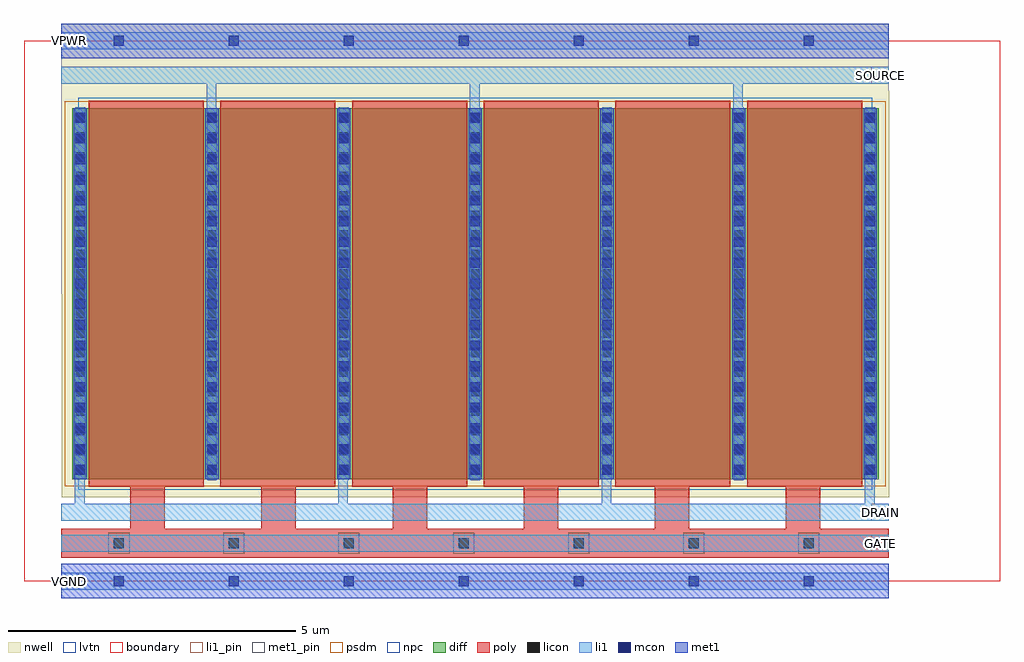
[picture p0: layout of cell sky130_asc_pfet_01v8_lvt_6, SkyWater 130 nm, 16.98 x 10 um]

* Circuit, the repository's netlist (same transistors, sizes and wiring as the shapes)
* NGSPICE file created from sky130_asc_pfet_01v8_lvt_6.ext - technology: sky130A

.subckt sky130_asc_pfet_01v8_lvt_6 GATE SOURCE DRAIN VGND VPWR
X0 SOURCE GATE DRAIN VPWR sky130_fd_pr__pfet_01v8_lvt ad=5.6115e+12p pd=4.044e+07u as=7.482e+12p ps=5.392e+07u w=6.45e+06u l=2e+06u
X1 SOURCE GATE DRAIN VPWR sky130_fd_pr__pfet_01v8_lvt ad=0p pd=0u as=0p ps=0u w=6.45e+06u l=2e+06u
X2 DRAIN GATE SOURCE VPWR sky130_fd_pr__pfet_01v8_lvt ad=0p pd=0u as=0p ps=0u w=6.45e+06u l=2e+06u
X3 SOURCE GATE DRAIN VPWR sky130_fd_pr__pfet_01v8_lvt ad=0p pd=0u as=0p ps=0u w=6.45e+06u l=2e+06u
X4 DRAIN GATE SOURCE VPWR sky130_fd_pr__pfet_01v8_lvt ad=0p pd=0u as=0p ps=0u w=6.45e+06u l=2e+06u
X5 DRAIN GATE SOURCE VPWR sky130_fd_pr__pfet_01v8_lvt ad=0p pd=0u as=0p ps=0u w=6.45e+06u l=2e+06u
.ends

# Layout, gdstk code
import gdstk
lib = gdstk.Library(unit=1e-6, precision=1e-09)
def R(c, l, rs):  # rectangles x0, y0, x1, y1
    for r in rs: c.add(gdstk.rectangle(r[:2], r[2:], *l))
def A(c, l, x, y, w, h, nx, ny, dx, dy):  # array of equal rectangles
    R(c, l, [(x+i*dx, y+j*dy, x+i*dx+w, y+j*dy+h) for i in range(nx) for j in range(ny)])
nwell = (64, 20)
diff = (65, 20)
poly = (66, 20)
licon = (66, 44)
li1_pin = (67, 16)
li1 = (67, 20)
mcon = (67, 44)
met1_pin = (68, 16)
met1 = (68, 20)
psdm = (94, 20)
npc = (95, 20)
lvtn = (125, 44)
boundary = (235, 4)

sky130_asc_pfet_01v8_lvt = lib.new_cell('sky130_asc_pfet_01v8_lvt_6')
R(sky130_asc_pfet_01v8_lvt, nwell, [(0.655,1.465,15.045,5), (0.65,5,15.045,8.535), (0.65,8.535,15.04,9.7)])
R(sky130_asc_pfet_01v8_lvt, diff, [(0.835,1.775,14.865,8.225)])
A(sky130_asc_pfet_01v8_lvt, poly, 1.85, 0.91, 0.6, 0.735, 6, 1, 2.28, 0)
A(sky130_asc_pfet_01v8_lvt, poly, 1.125, 1.645, 2, 6.71, 6, 1, 2.29, 0)
R(sky130_asc_pfet_01v8_lvt, poly, [(0.65,0.41,15.04,0.91)])
A(sky130_asc_pfet_01v8_lvt, licon, 1.565, 0.575, 0.17, 0.17, 7, 1, 2, 0)
A(sky130_asc_pfet_01v8_lvt, licon, 0.895, 1.855, 0.17, 0.17, 7, 19, 2.29, 0.34)
R(sky130_asc_pfet_01v8_lvt, li1_pin, [(14.74,0.51,15.04,0.81), (14.74,1.05,15.04,1.35), (14.74,8.65,15.04,8.95)])
A(sky130_asc_pfet_01v8_lvt, li1, 0.885, 1.35, 0.17, 0.405, 4, 1, 4.58, 0)
A(sky130_asc_pfet_01v8_lvt, li1, 0.885, 1.755, 0.18, 0.105, 4, 1, 4.58, 0)
A(sky130_asc_pfet_01v8_lvt, li1, 3.185, 1.755, 0.17, 6.375, 3, 1, 4.58, 0)
A(sky130_asc_pfet_01v8_lvt, li1, 0.895, 1.86, 0.17, 6.385, 4, 1, 4.58, 0)
A(sky130_asc_pfet_01v8_lvt, li1, 3.175, 8.13, 0.18, 0.115, 3, 1, 4.58, 0)
A(sky130_asc_pfet_01v8_lvt, li1, 3.175, 8.245, 0.17, 0.405, 3, 1, 4.58, 0)
R(sky130_asc_pfet_01v8_lvt, li1, [(0.65,-0.15,15.04,0.15), (0.65,0.51,15.04,0.81), (0.65,1.05,15.04,1.35), (0.65,8.65,15.04,8.95), (0.65,9.25,15.04,9.55)])
A(sky130_asc_pfet_01v8_lvt, mcon, 1.565, -0.085, 0.17, 0.17, 7, 2, 2, 9.4)
A(sky130_asc_pfet_01v8_lvt, mcon, 0.895, 1.855, 0.17, 0.17, 7, 18, 2.29, 0.36)
R(sky130_asc_pfet_01v8_lvt, met1_pin, [(0.65,-0.15,0.95,0.15), (0.65,9.25,0.95,9.55)])
A(sky130_asc_pfet_01v8_lvt, met1, 0.865, 1.775, 0.23, 6.45, 7, 1, 2.29, 0)
R(sky130_asc_pfet_01v8_lvt, met1, [(0.65,-0.3,15.04,0.3), (0.65,9.1,15.04,9.7)])
R(sky130_asc_pfet_01v8_lvt, psdm, [(0.71,1.65,14.99,8.35)])
A(sky130_asc_pfet_01v8_lvt, npc, 1.465, 0.475, 0.37, 0.37, 7, 1, 2, 0)
R(sky130_asc_pfet_01v8_lvt, lvtn, [(0.945,1.595,14.755,8.405)])
R(sky130_asc_pfet_01v8_lvt, boundary, [(0,0,16.975,9.4)])
sky130_asc_pfet_01v8_lvt.add(gdstk.Label('GATE', (14.89,0.66), layer=67, texttype=16))
sky130_asc_pfet_01v8_lvt.add(gdstk.Label('SOURCE', (14.89,8.8), layer=67, texttype=16))
sky130_asc_pfet_01v8_lvt.add(gdstk.Label('DRAIN', (14.89,1.2), layer=67, texttype=16))
sky130_asc_pfet_01v8_lvt.add(gdstk.Label('VPWR', (0.8,9.4), layer=68, texttype=16))
sky130_asc_pfet_01v8_lvt.add(gdstk.Label('VGND', (0.8,0), layer=68, texttype=16))

lib.write_gds('sky130_asc_pfet_01v8_lvt_6.gds')
